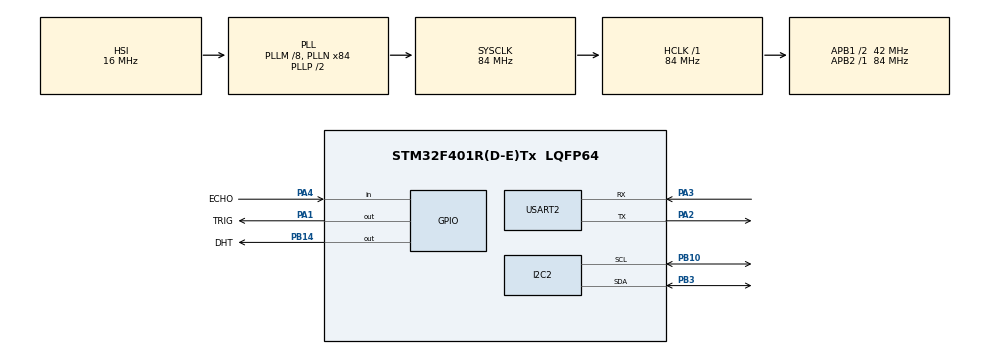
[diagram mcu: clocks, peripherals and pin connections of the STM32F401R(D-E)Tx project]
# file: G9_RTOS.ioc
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FREERTOS.BinarySemaphores01=DataSem,Dynamic,NULL;IRQSem,Dynamic,NULL
FREERTOS.Tasks01=defaultTask,24,128,StartDefaultTask,Default,NULL,Dynamic,NULL,NULL;ReadDHT,40,256,vTask_ReadDHT,Default,NULL,Dynamic,NULL,NULL;ReadDist,42,256,vTask_ReadDist,Default,NULL,Dynamic,NULL,NULL;HandleInterrupt,32,256,vTask_InterruptHandler,Default,NULL,Dynamic,NULL,NULL;Display,16,256,vTask_Display,Default,NULL,Dynamic,NULL,NULL
Mcu.Family=STM32F4
Mcu.Name=STM32F401R(D-E)Tx
Mcu.Package=LQFP64
NVIC.PriorityGroup=NVIC_PRIORITYGROUP_4
NVIC.TIM1_UP_TIM10_IRQn=true\:15\:0\:false\:false\:true\:false\:false\:true\:true
NVIC.TimeBase=TIM1_UP_TIM10_IRQn
NVIC.TimeBaseIP=TIM1
NVIC.USART2_IRQn=true\:5\:0\:false\:false\:true\:true\:true\:true\:true
PA1.GPIO_Label=TRIG
PA1.Signal=GPIO_Output
PA13.Mode=Serial_Wire
PA13.Signal=SYS_JTMS-SWDIO
PA14.Mode=Serial_Wire
PA14.Signal=SYS_JTCK-SWCLK
PA2.Mode=Asynchronous
PA2.Signal=USART2_TX
PA3.Mode=Asynchronous
PA3.Signal=USART2_RX
PA4.GPIO_Label=ECHO
PA4.Signal=GPIO_Input
PB10.Mode=I2C
PB10.Signal=I2C2_SCL
PB14.GPIO_Label=DHT
PB14.Signal=GPIO_Output
PB3.Mode=I2C
PB3.Signal=I2C2_SDA
PH0\ -\ OSC_IN.Mode=HSE-External-Oscillator
PH0\ -\ OSC_IN.Signal=RCC_OSC_IN
PH1\ -\ OSC_OUT.Mode=HSE-External-Oscillator
PH1\ -\ OSC_OUT.Signal=RCC_OSC_OUT
ProjectManager.HeapSize=0x200
ProjectManager.StackSize=0x400
ProjectManager.TargetToolchain=STM32CubeIDE
RCC.48MHZClocksFreq_Value=42000000
RCC.AHBFreq_Value=84000000
RCC.APB1CLKDivider=RCC_HCLK_DIV2
RCC.APB1Freq_Value=42000000
RCC.APB1TimFreq_Value=84000000
RCC.APB2Freq_Value=84000000
RCC.APB2TimFreq_Value=84000000
RCC.CortexFreq_Value=84000000
RCC.HCLKFreq_Value=84000000
RCC.HSE_VALUE=25000000
RCC.HSI_VALUE=16000000
RCC.LSE_VALUE=32768
RCC.PLLM=8
RCC.PLLN=84
RCC.SYSCLKFreq_VALUE=84000000
RCC.SYSCLKSource=RCC_SYSCLKSOURCE_PLLCLK
RCC.VCOOutputFreq_Value=168000000
TIM4.Prescaler=83
USART2.VirtualMode=VM_ASYNC
VP_FREERTOS_VS_CMSIS_V2.Mode=CMSIS_V2
VP_SYS_VS_tim1.Mode=TIM1
VP_TIM4_VS_ClockSourceINT.Mode=Internal
board=custom

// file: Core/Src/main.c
/* USER CODE BEGIN Header */
/**
 ******************************************************************************
 * @file           : main.c
 * @brief          : Main program body
 ******************************************************************************
 * @attention
 *
 * Copyright (c) 2024 STMicroelectronics.
 * All rights reserved.
 *
 * This software is licensed under terms that can be found in the LICENSE file
 * in the root directory of this software component.
 * If no LICENSE file comes with this software, it is provided AS-IS.
 *
 ******************************************************************************
 */
/* USER CODE END Header */
#include "main.h"
#include "cmsis_os.h"

/* USER CODE BEGIN Includes */
#include <stdio.h>
#include <string.h>
#include <stdlib.h>
#include "dht11.h"
#include "delay_timer.h"
#include "lcd_i2c.h"
#include "hrf05.h"

#include "FreeRTOS.h"
#include "task.h"
#include "timers.h"
#include "queue.h"
#include "semphr.h"
#include "event_groups.h"
/* USER CODE END Includes */

/* USER CODE BEGIN PTD */
/* Display mode */
typedef enum
{
	DISPLAY_DISTANCE,
	DISPLAY_TEMP,
	DISPLAY_HUMI,
	DISPLAY_ALL
} DisplayMode_t;

typedef struct
{
	float humi;
	float dist;
	float temp;
} SenseData_t;

/* USER CODE END PTD */

/* USER CODE BEGIN PD */
#define MAX_RX_LEN 				13
#define DISPLAY_COMMAND_LEN 	11
/* USER CODE END PTD */

/* Private define ------------------------------------------------------------*/
/* USER CODE BEGIN PD */

/* USER CODE END PD */

I2C_HandleTypeDef hi2c2;

TIM_HandleTypeDef htim4;

UART_HandleTypeDef huart2;

/* Definitions for defaultTask */
osThreadId_t defaultTaskHandle;
const osThreadAttr_t defaultTask_attributes = {
		.name = "defaultTask",
		.stack_size = 128 * 4,
		.priority = (osPriority_t) osPriorityNormal,
};
/* Definitions for ReadDHT */
osThreadId_t ReadDHTHandle;
const osThreadAttr_t ReadDHT_attributes = {
		.name = "ReadDHT",
		.stack_size = 256 * 4,
		.priority = (osPriority_t) osPriorityHigh,
};
/* Definitions for ReadDist */
osThreadId_t ReadDistHandle;
const osThreadAttr_t ReadDist_attributes = {
		.name = "ReadDist",
		.stack_size = 256 * 4,
		.priority = (osPriority_t) osPriorityHigh2,
};
/* Definitions for HandleInterrupt */
osThreadId_t HandleInterruptHandle;
const osThreadAttr_t HandleInterrupt_attributes = {
		.name = "HandleInterrupt",
		.stack_size = 256 * 4,
		.priority = (osPriority_t) osPriorityAboveNormal,
};
/* Definitions for Display */
osThreadId_t DisplayHandle;
const osThreadAttr_t Display_attributes = {
		.name = "Display",
		.stack_size = 256 * 4,
		.priority = (osPriority_t) osPriorityBelowNormal,
};
/* Definitions for DataSem */
osSemaphoreId_t DataSemHandle;
const osSemaphoreAttr_t DataSem_attributes = {
		.name = "DataSem"
};
/* Definitions for IRQSem */
osSemaphoreId_t IRQSemHandle;
const osSemaphoreAttr_t IRQSem_attributes = {
		.name = "IRQSem"
};
/* USER CODE BEGIN PV */
/* Sensors Instance */
DHT11_Sensor dht;
LCD_I2C_Name lcd;
SRF05_Device_Name hrf05;

/* Buffers and flags */
uint8_t count;
DHT11_Status dhtStatus;
char temp[18];
uint8_t rxData[20]; /* UART data receiver buffer */
uint8_t rxDataIndex = 0;
DisplayMode_t DisplayMode = DISPLAY_ALL;
/* Task interval */
uint32_t dhtInterval = 1500;
uint32_t distInterval = 1500;

/* Struct data of sensing measurements */
SenseData_t SenseData;
osStatus_t status;

/* USER CODE END PV */

void SystemClock_Config(void);
static void MX_GPIO_Init(void);
static void MX_USART2_UART_Init(void);
static void MX_I2C2_Init(void);
static void MX_TIM4_Init(void);
void StartDefaultTask(void *argument);
void vTask_ReadDHT(void *argument);
void vTask_ReadDist(void *argument);
void vTask_InterruptHandler(void *argument);
void vTask_Display(void *argument);

/* USER CODE BEGIN 0 */
int __io_putchar(int ch)
{
	HAL_UART_Transmit(&huart2, (uint8_t *)&ch, 1, HAL_MAX_DELAY);

	return ch;
}

/* Interrupt handler */
void HAL_UART_RxCpltCallback(UART_HandleTypeDef *huart)
{
	if (huart->Instance == huart2.Instance)
	{
		if (rxData[rxDataIndex] == '\n')
		{
			rxData[rxDataIndex] = '\0';
			printf("\nCommand: %s\r\n", rxData);
			rxDataIndex = 0;
			if (osThreadGetPriority(HandleInterruptHandle) != osPriorityHigh)
			{
				osThreadSetPriority(HandleInterruptHandle, osPriorityHigh);
			}
			osSemaphoreRelease(IRQSemHandle);
		}
		else
		{
			rxDataIndex ++;
		}
	}
	HAL_UART_Receive_IT(&huart2, (uint8_t*)&rxData[rxDataIndex], 1);
}
/* USER CODE END 0 */

int main(void)
{

	/* MCU Configuration--------------------------------------------------------*/

	/* Reset of all peripherals, Initializes the Flash interface and the Systick. */
	HAL_Init();

	/* Configure the system clock */
	SystemClock_Config();

	/* Initialize all configured peripherals */
	MX_GPIO_Init();
	MX_USART2_UART_Init();
	MX_I2C2_Init();
	MX_TIM4_Init();
	/* USER CODE BEGIN 2 */
	printf("Start\r\n\n");
	DHT11_Init(&dht, DHT_GPIO_Port, DHT_Pin, &htim4);
	LCD_Init(&lcd, &hi2c2, LDC_DEFAULT_ADDRESS, 20, 4);
	SRF05_Init(&hrf05, ECHO_GPIO_Port, ECHO_Pin, TRIG_GPIO_Port, TRIG_Pin);
	HAL_UART_Receive_IT(&huart2, (uint8_t*)&rxData[rxDataIndex], 1);
	LCD_SetCursor(&lcd, 0, 0);
	LCD_WriteString(&lcd, "Hello");
	/* USER CODE END 2 */

	/* Init scheduler */
	osKernelInitialize();

	/* Create the semaphores(s) */
	/* creation of DataSem */
	DataSemHandle = osSemaphoreNew(1, 0, &DataSem_attributes);

	/* creation of IRQSem */
	IRQSemHandle = osSemaphoreNew(1, 0, &IRQSem_attributes);

	/* Create the thread(s) */
	/* creation of defaultTask */
	defaultTaskHandle = osThreadNew(StartDefaultTask, NULL, &defaultTask_attributes);

	/* creation of ReadDHT */
	ReadDHTHandle = osThreadNew(vTask_ReadDHT, NULL, &ReadDHT_attributes);

	/* creation of ReadDist */
	ReadDistHandle = osThreadNew(vTask_ReadDist, NULL, &ReadDist_attributes);

	/* creation of HandleInterrupt */
	HandleInterruptHandle = osThreadNew(vTask_InterruptHandler, NULL, &HandleInterrupt_attributes);

	/* creation of Display */
	DisplayHandle = osThreadNew(vTask_Display, NULL, &Display_attributes);

	/* Start scheduler */
	osKernelStart();

	/* We should never get here as control is now taken by the scheduler */
	/* Infinite loop */
	while (1)
	{

	}
}

void SystemClock_Config(void)
{
	RCC_OscInitTypeDef RCC_OscInitStruct = {0};
	RCC_ClkInitTypeDef RCC_ClkInitStruct = {0};

	/** Configure the main internal regulator output voltage
	 */
	__HAL_RCC_PWR_CLK_ENABLE();
	__HAL_PWR_VOLTAGESCALING_CONFIG(PWR_REGULATOR_VOLTAGE_SCALE2);

	/** Initializes the RCC Oscillators according to the specified parameters
	 * in the RCC_OscInitTypeDef structure.
	 */
	RCC_OscInitStruct.OscillatorType = RCC_OSCILLATORTYPE_HSI;
	RCC_OscInitStruct.HSIState = RCC_HSI_ON;
	RCC_OscInitStruct.HSICalibrationValue = RCC_HSICALIBRATION_DEFAULT;
	RCC_OscInitStruct.PLL.PLLState = RCC_PLL_ON;
	RCC_OscInitStruct.PLL.PLLSource = RCC_PLLSOURCE_HSI;
	RCC_OscInitStruct.PLL.PLLM = 8;
	RCC_OscInitStruct.PLL.PLLN = 84;
	RCC_OscInitStruct.PLL.PLLP = RCC_PLLP_DIV2;
	RCC_OscInitStruct.PLL.PLLQ = 4;
	if (HAL_RCC_OscConfig(&RCC_OscInitStruct) != HAL_OK)
	{
		Error_Handler();
	}

	/** Initializes the CPU, AHB and APB buses clocks
	 */
	RCC_ClkInitStruct.ClockType = RCC_CLOCKTYPE_HCLK|RCC_CLOCKTYPE_SYSCLK
			|RCC_CLOCKTYPE_PCLK1|RCC_CLOCKTYPE_PCLK2;
	RCC_ClkInitStruct.SYSCLKSource = RCC_SYSCLKSOURCE_PLLCLK;
	RCC_ClkInitStruct.AHBCLKDivider = RCC_SYSCLK_DIV1;
	RCC_ClkInitStruct.APB1CLKDivider = RCC_HCLK_DIV2;
	RCC_ClkInitStruct.APB2CLKDivider = RCC_HCLK_DIV1;

	if (HAL_RCC_ClockConfig(&RCC_ClkInitStruct, FLASH_LATENCY_2) != HAL_OK)
	{
		Error_Handler();
	}
}

static void MX_I2C2_Init(void)
{

	hi2c2.Instance = I2C2;
	hi2c2.Init.ClockSpeed = 100000;
	hi2c2.Init.DutyCycle = I2C_DUTYCYCLE_2;
	hi2c2.Init.OwnAddress1 = 0;
	hi2c2.Init.AddressingMode = I2C_ADDRESSINGMODE_7BIT;
	hi2c2.Init.DualAddressMode = I2C_DUALADDRESS_DISABLE;
	hi2c2.Init.OwnAddress2 = 0;
	hi2c2.Init.GeneralCallMode = I2C_GENERALCALL_DISABLE;
	hi2c2.Init.NoStretchMode = I2C_NOSTRETCH_DISABLE;
	if (HAL_I2C_Init(&hi2c2) != HAL_OK)
	{
		Error_Handler();
	}

}

static void MX_TIM4_Init(void)
{

	TIM_ClockConfigTypeDef sClockSourceConfig = {0};
	TIM_MasterConfigTypeDef sMasterConfig = {0};

	htim4.Instance = TIM4;
	htim4.Init.Prescaler = 83;
	htim4.Init.CounterMode = TIM_COUNTERMODE_UP;
	htim4.Init.Period = 65535;
	htim4.Init.ClockDivision = TIM_CLOCKDIVISION_DIV1;
	htim4.Init.AutoReloadPreload = TIM_AUTORELOAD_PRELOAD_DISABLE;
	if (HAL_TIM_Base_Init(&htim4) != HAL_OK)
	{
		Error_Handler();
	}
	sClockSourceConfig.ClockSource = TIM_CLOCKSOURCE_INTERNAL;
	if (HAL_TIM_ConfigClockSource(&htim4, &sClockSourceConfig) != HAL_OK)
	{
		Error_Handler();
	}
	sMasterConfig.MasterOutputTrigger = TIM_TRGO_RESET;
	sMasterConfig.MasterSlaveMode = TIM_MASTERSLAVEMODE_DISABLE;
	if (HAL_TIMEx_MasterConfigSynchronization(&htim4, &sMasterConfig) != HAL_OK)
	{
		Error_Handler();
	}

}

static void MX_USART2_UART_Init(void)
{

	huart2.Instance = USART2;
	huart2.Init.BaudRate = 115200;
	huart2.Init.WordLength = UART_WORDLENGTH_8B;
	huart2.Init.StopBits = UART_STOPBITS_1;
	huart2.Init.Parity = UART_PARITY_NONE;
	huart2.Init.Mode = UART_MODE_TX_RX;
	huart2.Init.HwFlowCtl = UART_HWCONTROL_NONE;
	huart2.Init.OverSampling = UART_OVERSAMPLING_16;
	if (HAL_UART_Init(&huart2) != HAL_OK)
	{
		Error_Handler();
	}

}

static void MX_GPIO_Init(void)
{
	GPIO_InitTypeDef GPIO_InitStruct = {0};

	/* GPIO Ports Clock Enable */
	__HAL_RCC_GPIOH_CLK_ENABLE();
	__HAL_RCC_GPIOA_CLK_ENABLE();
	__HAL_RCC_GPIOB_CLK_ENABLE();

	/*Configure GPIO pin Output Level */
	HAL_GPIO_WritePin(TRIG_GPIO_Port, TRIG_Pin, GPIO_PIN_RESET);

	/*Configure GPIO pin Output Level */
	HAL_GPIO_WritePin(DHT_GPIO_Port, DHT_Pin, GPIO_PIN_RESET);

	/*Configure GPIO pin : TRIG_Pin */
	GPIO_InitStruct.Pin = TRIG_Pin;
	GPIO_InitStruct.Mode = GPIO_MODE_OUTPUT_PP;
	GPIO_InitStruct.Pull = GPIO_NOPULL;
	GPIO_InitStruct.Speed = GPIO_SPEED_FREQ_LOW;
	HAL_GPIO_Init(TRIG_GPIO_Port, &GPIO_InitStruct);

	/*Configure GPIO pin : ECHO_Pin */
	GPIO_InitStruct.Pin = ECHO_Pin;
	GPIO_InitStruct.Mode = GPIO_MODE_INPUT;
	GPIO_InitStruct.Pull = GPIO_NOPULL;
	HAL_GPIO_Init(ECHO_GPIO_Port, &GPIO_InitStruct);

	/*Configure GPIO pin : DHT_Pin */
	GPIO_InitStruct.Pin = DHT_Pin;
	GPIO_InitStruct.Mode = GPIO_MODE_OUTPUT_PP;
	GPIO_InitStruct.Pull = GPIO_NOPULL;
	GPIO_InitStruct.Speed = GPIO_SPEED_FREQ_LOW;
	HAL_GPIO_Init(DHT_GPIO_Port, &GPIO_InitStruct);

}

void StartDefaultTask(void *argument)
{
	for(;;)
	{
		osDelay(1);
	}
}

void vTask_ReadDHT(void *argument)
{
	/* USER CODE BEGIN vTask_ReadDHT */
	int32_t tick = osKernelGetTickCount();
	/* Infinite loop */
	for(;;)
	{
		if (osSemaphoreGetCount(DataSemHandle) != 0)
		{
			osSemaphoreAcquire(DataSemHandle, osWaitForever);
		}
		tick = tick + dhtInterval;
		printf("vTask_ReadDHT IN: %ld\r\n", osKernelGetTickCount());
		SRF05_Read(&hrf05);
		SenseData.dist = hrf05.Distance;
		printf("vTask_ReadDHT OUT: %ld\r\n\n", osKernelGetTickCount());
		dhtStatus = DHT11_GetData(&dht);
		switch(dhtStatus)
		{
		case DHT11_ERR_CHECKSUM:
			printf("DHT11 ERROR CHECKSUM\r\n");
			break;
		case DHT11_ERR_RESPONSE:
			printf("DHT11 ERROR RESPONSE\r\n");
			break;
		default:
			SenseData.humi = dht.Humi;
			SenseData.temp = dht.Temp;
			break;
		}

		osSemaphoreRelease(DataSemHandle);

		osDelayUntil(tick);
	}
	/* USER CODE END vTask_ReadDHT */
}

void vTask_ReadDist(void *argument)
{
	/* USER CODE BEGIN vTask_ReadDist */
	int32_t tick = osKernelGetTickCount();
	/* Infinite loop */
	for(;;)
	{
		if (osSemaphoreGetCount(DataSemHandle) != 0)
		{
			osSemaphoreAcquire(DataSemHandle, osWaitForever);
		}
		tick = tick + distInterval;
		printf("vTask_ReadDist IN: %ld\r\n", osKernelGetTickCount());
		SRF05_Read(&hrf05);
		SenseData.dist = hrf05.Distance;
		printf("vTask_ReadDist OUT: %ld\r\n\n", osKernelGetTickCount());

		osSemaphoreRelease(DataSemHandle);

		osDelayUntil(tick);
	}
	/* USER CODE END vTask_ReadDist */
}

void vTask_InterruptHandler(void *argument)
{
	/* USER CODE BEGIN vTask_InterruptHandler */
	/* Infinite loop */
	for(;;)
	{
		/* Temporary pause others tasks */
		osSemaphoreAcquire(IRQSemHandle, osWaitForever);
		osThreadSuspend(ReadDistHandle);
		osThreadSuspend(ReadDHTHandle);
		osThreadSuspend(DisplayHandle);

		/* Interrupt handler */
		char *command = strtok((char*)rxData, " ");
		char *time = strtok(NULL, " ");
		if (NULL == time){
			if (strcmp((const char*)rxData, "displaytemp") == 0)
			{
				DisplayMode = DISPLAY_TEMP;
				printf("Change Display Mode to DISPLAY_TEMP\r\n\n");
			}
			else if (strcmp((const char*)rxData, "displayhumi") == 0)
			{
				DisplayMode = DISPLAY_HUMI;
				printf("Change Display Mode to DISPLAY_HUMI\r\n\n");
			}
			else if (strcmp((const char*)rxData, "displaydist") == 0)
			{
				DisplayMode = DISPLAY_DISTANCE;
				printf("Change Display Mode to DISPLAY_DIST\r\n\n");
			}
			else if (strcmp((const char*)rxData, "displayboth") == 0)
			{
				DisplayMode = DISPLAY_ALL;
				printf("Change Display Mode to DISPLAY_ALL\r\n\n");
			}
			else
			{
				printf("Error Command Syntax\r\n\n");
			}
		}
		else {
			uint32_t pTime = atoi(time);
			if (strcmp((const char*)command, "timedht1") == 0)
			{
				dhtInterval = pTime;
				printf("Change period of dht time to %ld\r\n", pTime);
			}
			else if (strcmp((const char*)command, "timedist") == 0)
			{
				distInterval = pTime;
				printf("Change period of dist time to %ld\r\n", pTime);
			}
			else
			{
				printf("Error Command Syntax\r\n\n");
			}
		}
		/* let continue others */
		osThreadResume(ReadDistHandle);
		osThreadResume(ReadDHTHandle);
		osThreadResume(DisplayHandle);
	}
	/* USER CODE END vTask_InterruptHandler */
}

void vTask_Display(void *argument)
{
	/* USER CODE BEGIN vTask_Display */
	/* Infinite loop */
	for(;;)
	{
		osSemaphoreAcquire(DataSemHandle, osWaitForever);
		printf("vTask_Display IN: %ld\r\n", osKernelGetTickCount());

		if (dhtStatus == DHT11_OK)
		{
			LCD_Clear(&lcd);
			switch (DisplayMode){
			case DISPLAY_DISTANCE:
				sprintf(temp, "D: %.2f", SenseData.dist);
				LCD_SetCursor(&lcd, 0, 0);
				LCD_WriteString(&lcd, temp);
				printf("Distance: %.2f\r\n", SenseData.dist);
				break;
			case DISPLAY_HUMI:
				sprintf(temp, "H: %.2f", SenseData.humi);
				LCD_SetCursor(&lcd, 0, 0);
				LCD_WriteString(&lcd, temp);
				printf("Humidity: %.2f\r\n", SenseData.humi);
				break;
			case DISPLAY_TEMP:
				sprintf(temp, "T: %.2f", SenseData.temp);
				LCD_SetCursor(&lcd, 0, 0);
				LCD_WriteString(&lcd, temp);
				printf("Temperature: %.2f\r\n", SenseData.temp);
				break;
			case DISPLAY_ALL:
				sprintf(temp, "T: %.2f D: %.2f", SenseData.temp, SenseData.dist);
				LCD_SetCursor(&lcd, 0, 0);
				LCD_WriteString(&lcd, temp);
				sprintf(temp, "H: %.2f", SenseData.humi);
				LCD_SetCursor(&lcd, 0, 1);
				LCD_WriteString(&lcd, temp);
				printf("Distance: %.2f\r\n", SenseData.dist);
				printf("Humidity: %.2f\r\n", SenseData.humi);
				printf("Temperature: %.2f\r\n", SenseData.temp);
				break;
			}
		}
		printf("vTask_Display OUT: %ld\r\n\n", osKernelGetTickCount());
	}
	/* USER CODE END vTask_Display */
}

void HAL_TIM_PeriodElapsedCallback(TIM_HandleTypeDef *htim)
{
	if (htim->Instance == TIM1) {
		HAL_IncTick();
	}
}

void Error_Handler(void)
{
	__disable_irq();
	while (1)
	{
	}
}
